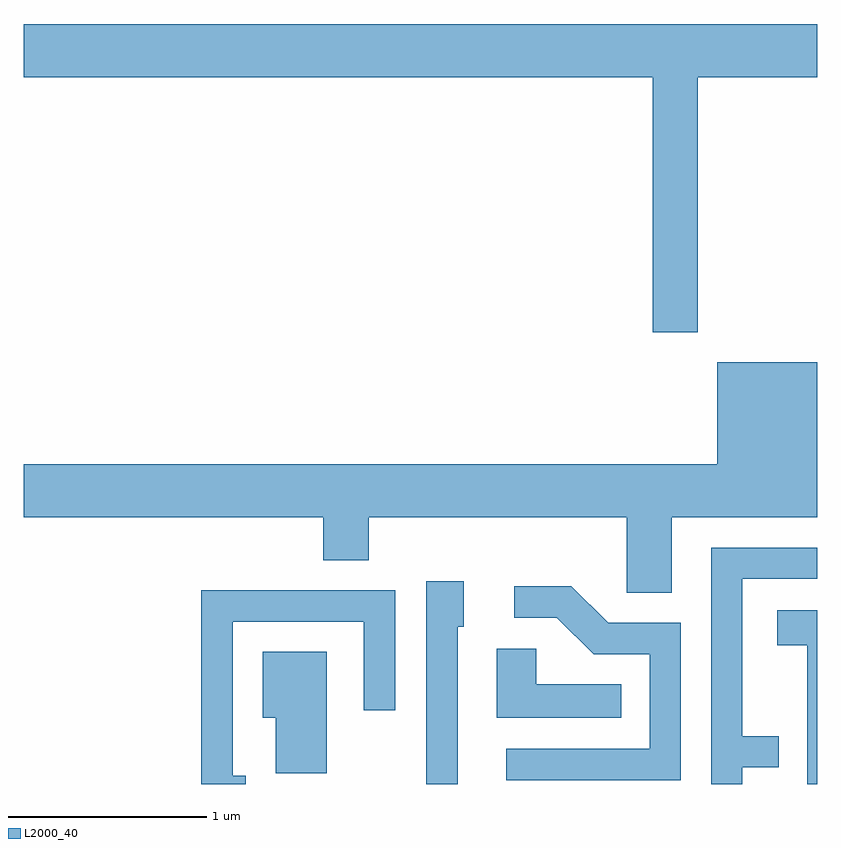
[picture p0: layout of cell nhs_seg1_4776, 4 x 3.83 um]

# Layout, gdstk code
import gdstk
lib = gdstk.Library(unit=1e-6, precision=1e-09)
def P(c, l, *ps):  # polygons
    for p in ps: c.add(gdstk.Polygon(p, *l))
L2000_40 = (2000, 40)

nhs_seg1_4776 = lib.new_cell('nhs_seg1_4776')
P(nhs_seg1_4776, L2000_40, [(327.611,977.276),(330.781,977.276),(330.781,975.991),(331.009,975.991),(331.009,977.276),(331.611,977.276),(331.611,977.544),(327.611,977.544)],
  [(330.879,975.056),(331.611,975.056),(331.611,975.839),(331.106,975.839),(331.106,975.324),(327.611,975.324),(327.611,975.056),(329.121,975.056),(329.121,974.841),(329.349,974.841),(329.349,975.056),(330.651,975.056),(330.651,974.676),(330.879,974.676)],
  [(331.234,973.796),(331.418,973.796),(331.418,973.954),(331.234,973.954),(331.234,974.746),(331.611,974.746),(331.611,974.904),(331.076,974.904),(331.076,973.712),(331.234,973.712)],
  [(329.799,974.506),(329.829,974.506),(329.829,974.734),(329.641,974.734),(329.641,973.712),(329.799,973.712)],
  [(330.924,974.524),(330.557,974.524),(330.372,974.709),(330.083,974.709),(330.083,974.551),(330.299,974.551),(330.484,974.366),(330.766,974.366),(330.766,973.889),(330.043,973.889),(330.043,973.731),(330.924,973.731)],
  [(328.729,973.754),(328.664,973.754),(328.664,974.531),(329.326,974.531),(329.326,974.083),(329.484,974.083),(329.484,974.689),(328.506,974.689),(328.506,973.712),(328.729,973.712)],
  [(331.611,974.589),(331.411,974.589),(331.411,974.411),(331.561,974.411),(331.561,973.712),(331.611,973.712)],
  [(330.623,974.214),(330.194,974.214),(330.194,974.394),(329.996,974.394),(329.996,974.046),(330.623,974.046)],
  [(329.139,974.379),(328.816,974.379),(328.816,974.046),(328.881,974.046),(328.881,973.766),(329.139,973.766)])

lib.write_gds('nhs_seg1_4776.gds')
